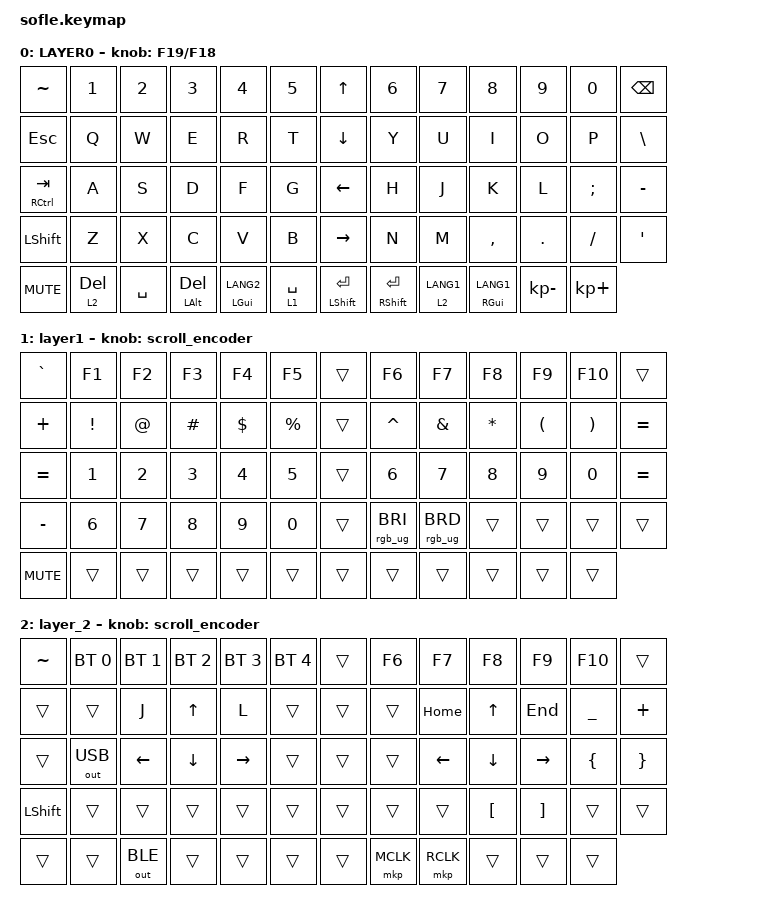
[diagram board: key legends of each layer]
#include <behaviors/mouse_keys.dtsi>
#include <dt-bindings/zmk/mouse.h>
#include <behaviors.dtsi>
#include <dt-bindings/zmk/bt.h>
#include <dt-bindings/zmk/keys.h>
#include <dt-bindings/zmk/outputs.h>
#include <dt-bindings/zmk/rgb.h>

#define ZMK_MOUSE_DEFAULT_MOVE_VAL 1200  // 600
#define ZMK_MOUSE_DEFAULT_SCRL_VAL 20    // 10
#define U_MS_U &mmv MOVE_UP
#define U_MS_D &mmv MOVE_DOWN
#define U_MS_L &mmv MOVE_LEFT
#define U_MS_R &mmv MOVE_RIGHT
#define ZMK_MOUSE_DEFAULT_MOVE_VAL 1200  //  600
#define ZMK_MOUSE_DEFAULT_SCRL_VAL 20    // 10

/ {
    behaviors {
        mmv {
            acceleration-exponent = <1>;      // 1
            time-to-max-speed-ms = <900>;    // 40
            delay-ms = <0>;                   // 0
        };

        msc {
            acceleration-exponent = <1>;      // 0
            time-to-max-speed-ms = <400>;      // 500
            delay-ms = <0>;                   //   10
        };
    };

    scroll_encoder: scroll_encoder {
        compatible = "zmk,behavior-sensor-rotate";
        #sensor-binding-cells = <0>;
        bindings = <&msc SCRL_DOWN>, <&msc SCRL_UP>;

        tap-ms = <30>;
    };

    combos {
        compatible = "zmk,combos";

        dfDEL {
            bindings = <&kp DELETE>;
            key-positions = <29 30>;
        };

        BTCLRALL {
            bindings = <&bt BT_CLR_ALL>;
            key-positions = <0 44>;
        };
    };

     keymap {
        compatible = "zmk,keymap";

        layer0 {
            bindings = <
&kp TILDE              &kp N1     &kp N2     &kp N3               &kp N4              &kp N5         &kp UP_ARROW      &kp N6                 &kp N7       &kp N8               &kp N9        &kp N0       &kp BACKSPACE
&kp ESC                &kp Q      &kp W      &kp E                &kp R               &kp T          &kp DOWN_ARROW    &kp Y                  &kp U        &kp I                &kp O         &kp P        &kp BSLH
&mt RIGHT_CONTROL TAB  &kp A      &kp S      &kp D                &kp F               &kp G          &kp LEFT_ARROW    &kp H                  &kp J        &kp K                &kp L         &kp SEMI     &kp MINUS
&kp LSHFT              &kp Z      &kp X      &kp C                &kp V               &kp B          &kp RIGHT_ARROW   &kp N                  &kp M        &kp COMMA            &kp DOT       &kp FSLH     &kp SINGLE_QUOTE
&kp C_MUTE             &lt 2 DEL  &kp SPACE  &mt LEFT_ALT DELETE  &mt LEFT_GUI LANG2  &lt 1 SPACE    &mt LSHIFT ENTER  &mt RIGHT_SHIFT ENTER  &lt 2 LANG1  &mt RIGHT_GUI LANG1  &kp KP_MINUS  &kp KP_PLUS
            >;

            sensor-bindings = <&inc_dec_kp F19 F18>;
            display-name = "LAYER0";
        };

        layer_1 {
            bindings = <
&kp GRAVE   &kp F1    &kp F2  &kp F3    &kp F4    &kp F5       &trans  &kp F6           &kp F7           &kp F8    &kp F9    &kp F10   &trans
&kp PLUS    &kp EXCL  &kp AT  &kp HASH  &kp DLLR  &kp PRCNT    &trans  &kp CARET        &kp AMPS         &kp STAR  &kp LPAR  &kp RPAR  &kp EQUAL
&kp EQUAL   &kp N1    &kp N2  &kp N3    &kp N4    &kp N5       &trans  &kp N6           &kp N7           &kp N8    &kp N9    &kp N0    &kp EQUAL
&kp MINUS   &kp N6    &kp N7  &kp N8    &kp N9    &kp N0       &trans  &rgb_ug RGB_BRI  &rgb_ug RGB_BRD  &trans    &trans    &trans    &trans
&kp C_MUTE  &trans    &trans  &trans    &trans    &trans       &trans  &trans           &trans           &trans    &trans    &trans
            >;

            display-name = "layer1";
            sensor-bindings = <&scroll_encoder>;
        };

        layer_2 {
            bindings = <
&kp TILDE       &bt BT_SEL 0  &bt BT_SEL 1  &bt BT_SEL 2  &bt BT_SEL 3  &bt BT_SEL 4    &trans  &kp F6     &kp F7     &kp F8            &kp F9             &kp F10    &trans
&trans          &trans        &kp J         &kp UP        &kp L         &trans          &trans  &trans     &kp HOME   &kp UP            &kp END            &kp UNDER  &kp PLUS
&trans          &out OUT_USB  &kp LEFT      &kp DOWN      &kp RIGHT     &trans          &trans  &trans     &kp LEFT   &kp DOWN          &kp RIGHT          &kp LBRC   &kp RBRC
&kp LEFT_SHIFT  &trans        &trans        &trans        &trans        &trans          &trans  &trans     &trans     &kp LEFT_BRACKET  &kp RIGHT_BRACKET  &trans     &trans
&trans          &trans        &out OUT_BLE  &trans        &trans        &trans          &trans  &mkp MCLK  &mkp RCLK  &trans            &trans             &trans
            >;

            sensor-bindings = <&scroll_encoder>;
        };
    };
};
